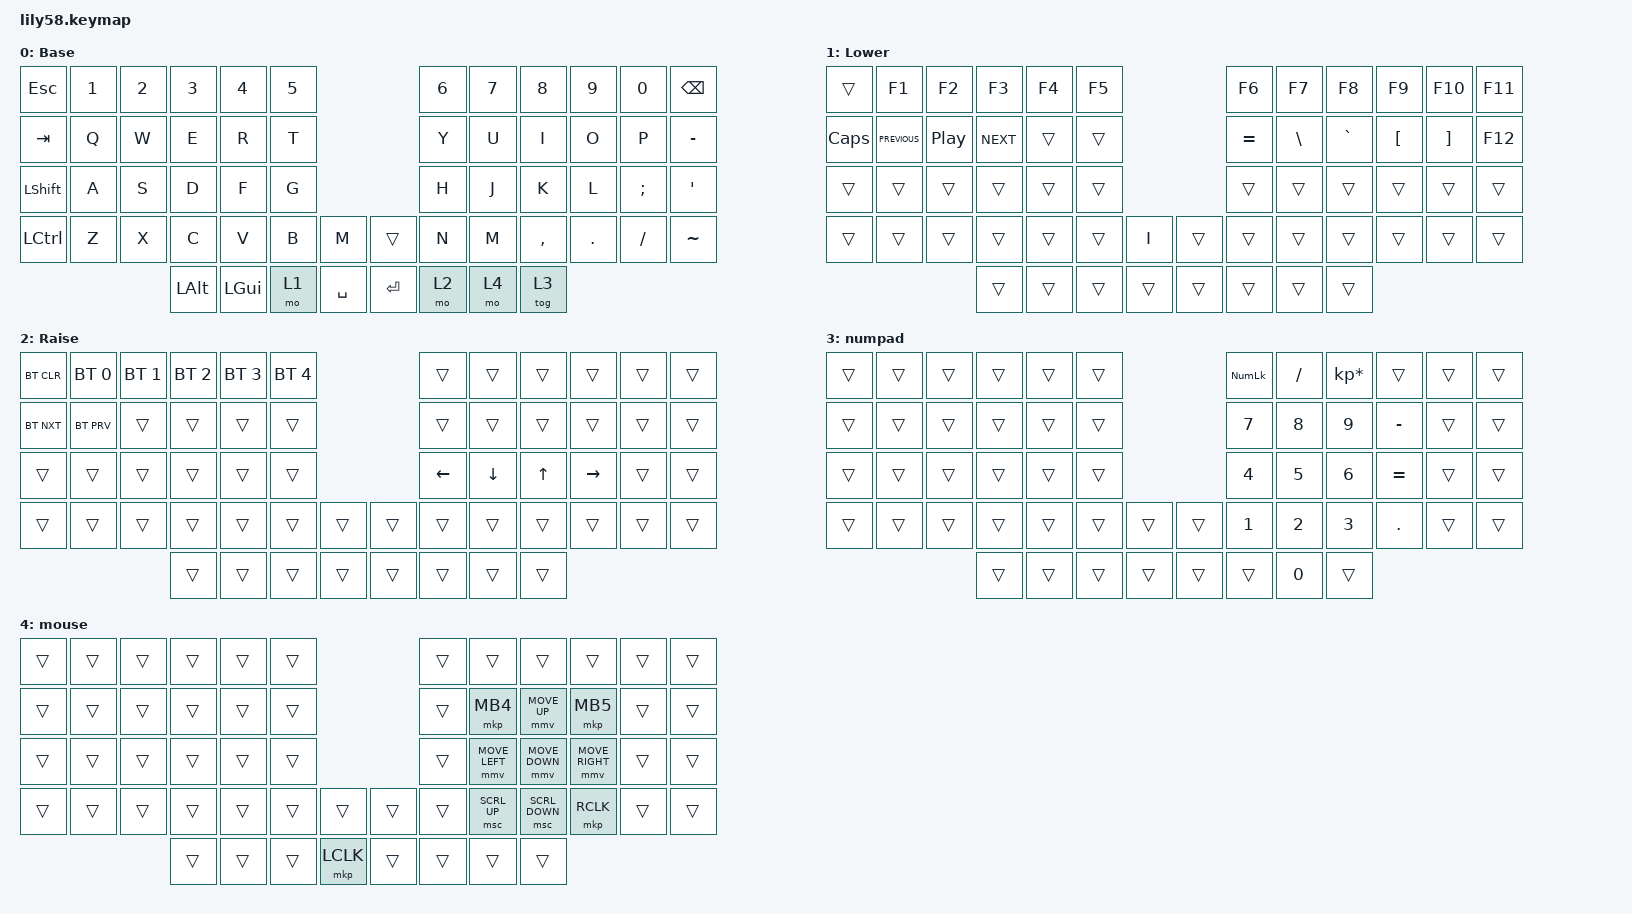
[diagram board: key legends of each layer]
/*
 * Copyright (c) 2020 The ZMK Contributors
 *
 * SPDX-License-Identifier: MIT
 */

#include <behaviors.dtsi>
#include <dt-bindings/zmk/bt.h>
#include <dt-bindings/zmk/keys.h>


#define ZMK_POINTING_DEFAULT_MOVE_VAL 800  // default: 600
#define ZMK_POINTING_DEFAULT_SCRL_VAL 10    // default: 10
#include <dt-bindings/zmk/pointing.h>

&mmv {
    x-input-code = <INPUT_REL_X>;
    y-input-code = <INPUT_REL_Y>;
    time-to-max-speed-ms = <0>;
    acceleration-exponent = <0>;
};

&msc {
    x-input-code = <INPUT_REL_HWHEEL>;
    y-input-code = <INPUT_REL_WHEEL>;
    time-to-max-speed-ms = <0>;
    acceleration-exponent = <0>;
};


/ {
    keymap {
        compatible = "zmk,keymap";

        default_layer {
            // ------------------------------------------------------------------------------------------------------------
            // |  ESC  |  1  |  2  |  3   |  4   |  5   |                   |  6   |  7    |  8    |  9   |   0   |   `   |
            // |  TAB  |  Q  |  W  |  E   |  R   |  T   |                   |  Y   |  U    |  I    |  O   |   P   |   -   |
            // |  CTRL |  A  |  S  |  D   |  F   |  G   |                   |  H   |  J    |  K    |  L   |   ;   |   '   |
            // | SHIFT |  Z  |  X  |  C   |  V   |  B   |   "["  |  |  "]"  |  N   |  M    |  ,    |  .   |   /   | SHIFT |
            //                     | ALT  | GUI  | LOWER|  SPACE |  | ENTER | RAISE| BSPC  | GUI   |

            display-name = "Base";
            bindings = <
&kp ESC           &kp N1  &kp N2  &kp N3    &kp N4    &kp N5                        &kp N6  &kp N7  &kp N8     &kp N9   &kp N0    &kp BSPC
&kp TAB           &kp Q   &kp W   &kp E     &kp R     &kp T                         &kp Y   &kp U   &kp I      &kp O    &kp P     &kp MINUS
&kp LEFT_SHIFT    &kp A   &kp S   &kp D     &kp F     &kp G                         &kp H   &kp J   &kp K      &kp L    &kp SEMI  &kp SQT
&kp LEFT_CONTROL  &kp Z   &kp X   &kp C     &kp V     &kp B   &kp M        &trans   &kp N   &kp M   &kp COMMA  &kp DOT  &kp FSLH  &kp TILDE
                                  &kp LALT  &kp LGUI  &mo 1   &kp SPACE    &kp RET  &mo 2   &mo 4   &tog 3
            >;
        };

        lower_layer {
            // ------------------------------------------------------------------------------------------------------------
            // | BTCLR | BT1 | BT2 |  BT3 |  BT4 |  BT5 |                   |      |       |       |      |       |       |
            // |  F1   |  F2 |  F3 |  F4  |  F5  |  F6  |                   |  F7  |  F8   |  F9   |  F10 |  F11  |  F12  |
            // |   `   |  !  |  @  |  #   |  $   |  %   |                   |  ^   |  &    |  *    |  (   |   )   |   ~   |
            // |       |     |     |      |      |      |        |  |       |      |  _    |  +    |  {   |   }   |  "|"  |
            //                     |      |      |      |        |  |       |      |       |       |

            display-name = "Lower";
            bindings = <
&trans    &kp F1          &kp F2            &kp F3      &kp F4  &kp F5                    &kp F6     &kp F7         &kp F8     &kp F9            &kp F10            &kp F11
&kp CAPS  &kp C_PREVIOUS  &kp C_PLAY_PAUSE  &kp C_NEXT  &trans  &trans                    &kp EQUAL  &kp BACKSLASH  &kp GRAVE  &kp LEFT_BRACKET  &kp RIGHT_BRACKET  &kp F12
&trans    &trans          &trans            &trans      &trans  &trans                    &trans     &trans         &trans     &trans            &trans             &trans
&trans    &trans          &trans            &trans      &trans  &trans  &kp I     &trans  &trans     &trans         &trans     &trans            &trans             &trans
                                            &trans      &trans  &trans  &trans    &trans  &trans     &trans         &trans
            >;
        };

        raise_layer {
            // ------------------------------------------------------------------------------------------------------------
            // |       |     |     |      |      |      |                   |      |       |       |      |       |       |
            // |   `   |  1  |  2  |  3   |  4   |  5   |                   |  6   |   7   |   8   |  9   |   0   |       |
            // |   F1  |  F2 |  F3 |  F4  |  F5  |  F6  |                   |      |   <-  |   v   |  ^   |  ->   |       |
            // |   F7  |  F8 |  F9 |  F10 |  F11 |  F12 |        |  |       |  +   |   -   |   =   |  [   |   ]   |   \   |
            //                     |      |      |      |        |  |       |      |       |       |

            display-name = "Raise";
            bindings = <
&bt BT_CLR  &bt BT_SEL 0  &bt BT_SEL 1  &bt BT_SEL 2  &bt BT_SEL 3  &bt BT_SEL 4                    &trans    &trans          &trans        &trans     &trans  &trans
&bt BT_NXT  &bt BT_PRV    &trans        &trans        &trans        &trans                          &trans    &trans          &trans        &trans     &trans  &trans
&trans      &trans        &trans        &trans        &trans        &trans                          &kp LEFT  &kp DOWN_ARROW  &kp UP_ARROW  &kp RIGHT  &trans  &trans
&trans      &trans        &trans        &trans        &trans        &trans        &trans    &trans  &trans    &trans          &trans        &trans     &trans  &trans
                                        &trans        &trans        &trans        &trans    &trans  &trans    &trans          &trans
            >;
        };

        numpad {
            bindings = <
&trans  &trans  &trans  &trans  &trans  &trans                    &kp KP_NUMLOCK  &kp SLASH     &kp KP_MULTIPLY  &trans      &trans  &trans
&trans  &trans  &trans  &trans  &trans  &trans                    &kp N7          &kp N8        &kp N9           &kp MINUS   &trans  &trans
&trans  &trans  &trans  &trans  &trans  &trans                    &kp NUMBER_4    &kp N5        &kp NUMBER_6     &kp EQUAL   &trans  &trans
&trans  &trans  &trans  &trans  &trans  &trans  &trans    &trans  &kp NUMBER_1    &kp NUMBER_2  &kp NUMBER_3     &kp PERIOD  &trans  &trans
                        &trans  &trans  &trans  &trans    &trans  &trans          &kp N0        &trans
            >;
        };

        mouse {
            bindings = <
&trans  &trans  &trans  &trans  &trans  &trans                       &trans  &trans          &trans          &trans           &trans  &trans
&trans  &trans  &trans  &trans  &trans  &trans                       &trans  &mkp MB4        &mmv MOVE_UP    &mkp MB5         &trans  &trans
&trans  &trans  &trans  &trans  &trans  &trans                       &trans  &mmv MOVE_LEFT  &mmv MOVE_DOWN  &mmv MOVE_RIGHT  &trans  &trans
&trans  &trans  &trans  &trans  &trans  &trans  &trans       &trans  &trans  &msc SCRL_UP    &msc SCRL_DOWN  &mkp RCLK        &trans  &trans
                        &trans  &trans  &trans  &mkp LCLK    &trans  &trans  &trans          &trans
            >;
        };
    };
};
